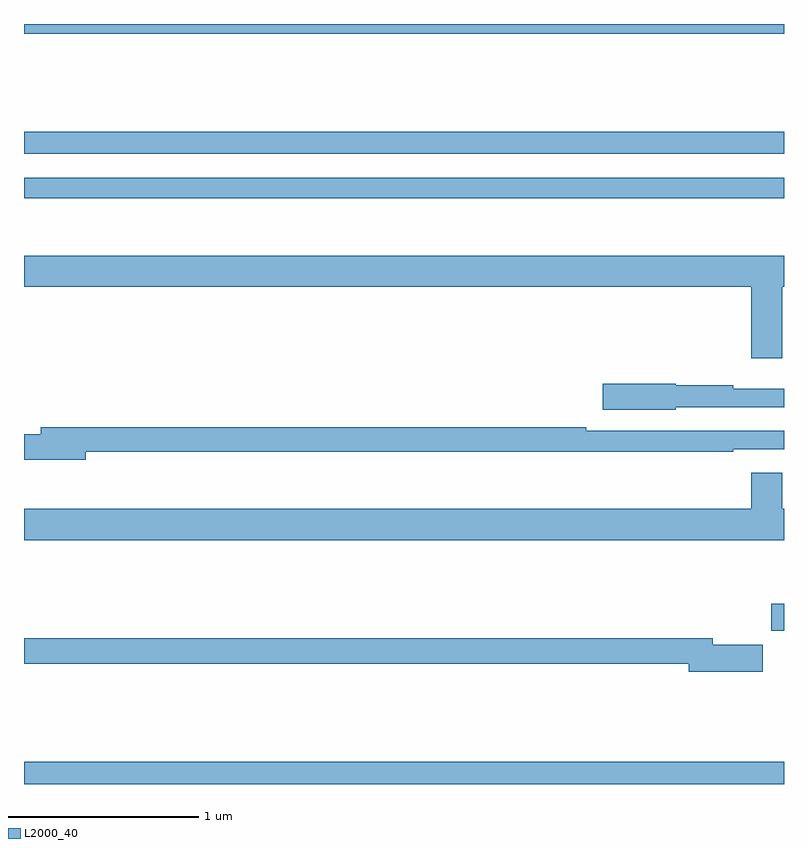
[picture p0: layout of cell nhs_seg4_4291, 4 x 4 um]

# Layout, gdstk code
import gdstk
lib = gdstk.Library(unit=1e-6, precision=1e-09)
def R(c, l, rs):  # rectangles x0, y0, x1, y1
    for r in rs: c.add(gdstk.rectangle(r[:2], r[2:], *l))
def P(c, l, *ps):  # polygons
    for p in ps: c.add(gdstk.Polygon(p, *l))
L2000_40 = (2000, 40)

nhs_seg4_4291 = lib.new_cell('nhs_seg4_4291')
R(nhs_seg4_4291, L2000_40, [(341,764.9,345,765.016), (344.934,765.707,345,765.849), (341,767.982,345,768.09), (341,768.216,345,768.332), (341,768.848,345,768.9)])
P(nhs_seg4_4291, L2000_40, [(344.992,767.516),(345,767.516),(345,767.68),(341,767.68),(341,767.516),(344.828,767.516),(344.828,767.142),(344.992,767.142)],
  [(344.43,766.884),(345,766.884),(345,766.981),(344.732,766.981),(344.732,767),(344.43,767),(344.43,767.006),(344.046,767.006),(344.046,766.871),(344.43,766.871)],
  [(341.326,766.65),(344.732,766.65),(344.732,766.662),(345,766.662),(345,766.758),(343.958,766.758),(343.958,766.778),(341.087,766.778),(341.087,766.742),(341,766.742),(341,766.607),(341.326,766.607)],
  [(345,766.348),(344.992,766.348),(344.992,766.537),(344.828,766.537),(344.828,766.348),(341,766.348),(341,766.184),(345,766.184)],
  [(344.887,765.632),(344.626,765.632),(344.626,765.668),(341,765.668),(341,765.532),(344.498,765.532),(344.498,765.49),(344.887,765.49)])

lib.write_gds('nhs_seg4_4291.gds')
